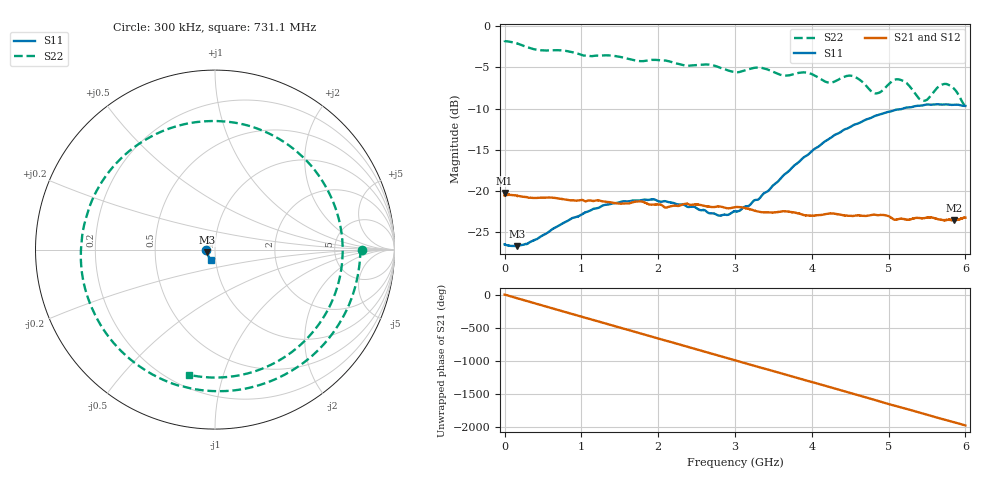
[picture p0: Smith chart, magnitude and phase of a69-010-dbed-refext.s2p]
!  3/18/2021  20:23:00
! Ref Plane: 13.288 mm
# MHZ S MA R  50
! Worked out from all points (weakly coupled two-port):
!   10001 points, 300 kHz to 6 GHz, reference 50 ohm
!   highest |S21| = -20.24 dB at 300 kHz (marker M1); lowest = -23.5 dB at 5.853 GHz (marker M2)
!   lowest |S11| = -26.7 dB at 163.5 MHz (marker M3), VSWR 1.10, Z = 45.8 - j1.33 ohm
!   |S11| at or under -10 dB: start of sweep to 5.189 GHz
!   |S22| runs from -9.8 to -1.8 dB; largest |S21 - S12| = 0.0023
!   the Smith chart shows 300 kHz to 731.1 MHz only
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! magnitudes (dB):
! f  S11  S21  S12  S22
! 300 kHz  -26.5  -20.2  -20.4  -1.8
! 163.5 MHz  -26.7  -20.6  -20.6  -2.1
! 410.1 MHz  -25.9  -20.8  -20.9  -2.9
! 1 GHz  -22.9  -21.1  -21.1  -3.5
! 1.534 GHz  -21.3  -21.5  -21.5  -3.8
! 1.765 GHz  -21.1  -21.3  -21.3  -4.3
! 2.001 GHz  -21.2  -21.6  -21.6  -4.1
! 2.79 GHz  -23.0  -21.9  -21.9  -5.0
! 3 GHz  -22.5  -22.0  -22.0  -5.6
! 3.313 GHz  -21.0  -22.5  -22.5  -5.0
! 3.631 GHz  -18.1  -22.5  -22.5  -6.0
! 4 GHz  -15.2  -23.0  -23.0  -5.8
! 4.232 GHz  -13.6  -22.7  -22.7  -6.9
! 4.537 GHz  -12.0  -23.0  -23.0  -6.1
! 4.826 GHz  -10.9  -22.9  -22.9  -8.2
! 5 GHz  -10.4  -23.1  -23.1  -7.1
! 5.092 GHz  -10.2  -23.5  -23.5  -6.5
! 5.187 GHz  -10.0  -23.4  -23.4  -6.6
! 5.456 GHz  -9.6  -23.3  -23.3  -9.1
! 5.699 GHz  -9.5  -23.5  -23.6  -7.1
! 5.853 GHz  -9.5  -23.5  -23.6  -7.6
! 6 GHz  -9.7  -23.2  -23.2  -9.8
